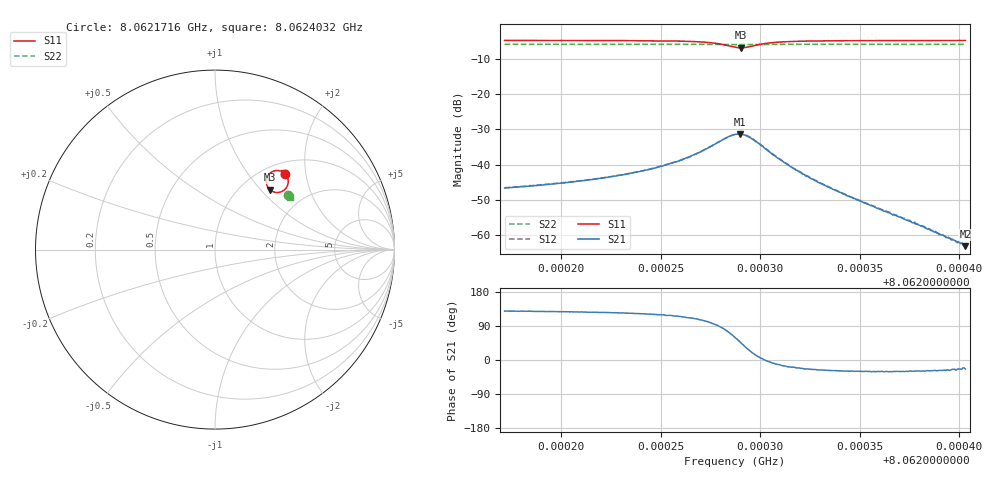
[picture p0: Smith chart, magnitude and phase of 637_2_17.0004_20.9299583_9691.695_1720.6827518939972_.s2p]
#  HZ  S  RI  R  50.00
! Rohde & Schwarz Vector Network Analyzer
! Rohde-Schwarz,ZNB20-2Port,1311601062101988,3.16
! Created: UTC 3/20/2024, 11:20:40 PM
! freq[Hz]  re:S11  im:S11  re:S21  im:S21  re:S12  im:S12  re:S22  im:S22
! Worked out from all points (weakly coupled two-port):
!   401 points, 8.0621716 GHz to 8.0624032 GHz, reference 50 ohm
!   highest |S21| = -31.32 dB at 8.0622897 GHz (marker M1); lowest = -63.1 dB at 8.0624032 GHz (marker M2)
!   lowest |S11| = -6.9 dB at 8.0622903 GHz (marker M3), VSWR 2.65, Z = 67 + j56.2 ohm
!   |S11| at or under -10 dB: nowhere
!   |S22| runs from -6.0 to -5.9 dB; largest |S21 - S12| = 0.0015
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8.06217164e9  0.3898 0.4236  -0.00293 0.00363  -0.00273 0.0038  0.409 0.302
8.06218959e9  0.3923 0.4211  -0.00315 0.00399  -0.00297 0.00425  0.4096 0.301
8.06221043e9  0.3955 0.417  -0.00354 0.00473  -0.00327 0.00497  0.4104 0.2998
8.06223127e9  0.3996 0.4106  -0.00403 0.00595  -0.00368 0.00625  0.4113 0.2985
8.06224921e9  0.4044 0.4005  -0.00461 0.00807  -0.00411 0.00839  0.4119 0.2973
8.06225964e9  0.4072 0.3896  -0.00477 0.0103  -0.00425 0.0106  0.4121 0.2962
8.06226427e9  0.408 0.3822  -0.00465 0.0118  -0.00399 0.0123  0.4122 0.2956
8.06227585e9  0.4011 0.3509  -0.00224 0.0183  -0.00126 0.0184  0.412 0.2939
8.06228337e9  0.3684 0.322  0.0055 0.0235  0.00691 0.0233  0.4104 0.2926
8.06228742e9  0.3322 0.3198  0.0135 0.0232  0.0147 0.0226  0.4089 0.2929
8.06228974e9  0.3104 0.33  0.018 0.0204  0.0191 0.0195  0.4083 0.2934
8.06229032e9  0.3056 0.3339  0.0188 0.0193  0.0199 0.0186  0.4081 0.2936
8.06229263e9  0.2911 0.3535  0.0214 0.0146  0.0224 0.0137  0.4077 0.2946
8.06229553e9  0.2855 0.3805  0.0221 0.00869  0.0227 0.00775  0.408 0.2957
8.06230363e9  0.308 0.4271  0.0159 -0.000721  0.0162 -0.00168  0.4097 0.297
8.06231579e9  0.3409 0.4405  0.00871 -0.00301  0.00856 -0.00345  0.4119 0.2965
8.06232621e9  0.3556 0.4402  0.00567 -0.00261  0.00559 -0.00299  0.4127 0.2958
8.062343e9  0.3679 0.437  0.00323 -0.00182  0.0032 -0.00201  0.4139 0.2947
8.062365e9  0.3763 0.4333  0.00178 -0.00108  0.00175 -0.00117  0.415 0.2933
8.06238237e9  0.3805 0.4309  0.00116 -0.000633  0.00114 -0.000692  0.4156 0.2925
8.062398e9  0.3833 0.4291  0.000759 -0.000351  0.000725 -0.00042  0.4163 0.2915
8.06240321e9  0.3841 0.4285  0.000639 -0.00028  0.000683 -0.000317  0.4164 0.2912
